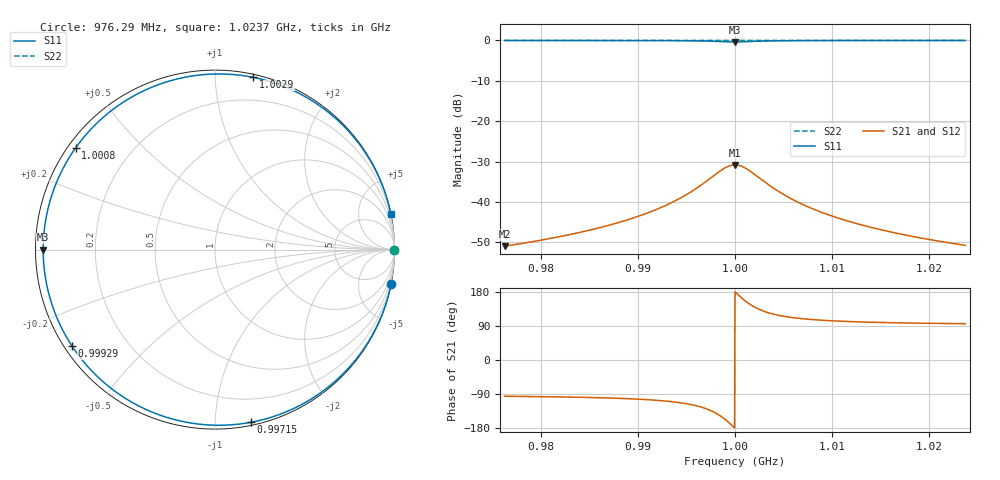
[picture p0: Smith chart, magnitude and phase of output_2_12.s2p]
! File generated for n1 = 2, n2 = 12
! b1 = 46.415888
! b2 = 0.010000
! Q0 = 10000.000000
! f0 = 1000000000.000000
! n = 1001
! rel_span = 10.000000
# Hz S RI R 50
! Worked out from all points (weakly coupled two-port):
!   1001 points, 976.29 MHz to 1.0237 GHz, reference 50 ohm
!   highest |S21| = -30.83 dB at 1 GHz (marker M1); lowest = -51.0 dB at 976.29 MHz (marker M2)
!   lowest |S11| = -0.4 dB at 1 GHz (marker M3), VSWR 45.96, Z = 1.09 + j0 ohm
!   |S11| at or under -10 dB: nowhere
!   |S22| runs from 0.0 to 0.0 dB; largest |S21 - S12| = 0
!   S11 on the Smith chart (normalised r, x): 976.29 MHz: 0, -10; 997.15 MHz: 0.02, -1.23; 999.29 MHz: 0.02, -0.31; 1.0008 GHz: 0.02, +0.33; 1.0029 GHz: 0.02, +1.24; 1.0237 GHz: 0, +10
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9.762871e8  0.9811 -0.1915  -0.000278 -0.00281  -0.000278 -0.00281  1 -4.13e-05
9.842072e8  0.9575 -0.2852  -0.000624 -0.00419  -0.000624 -0.00419  1 -6.15e-05
9.887126e8  0.9182 -0.3918  -0.0012 -0.00575  -0.0012 -0.00575  1 -8.44e-05
9.921273e8  0.8384 -0.5388  -0.00237 -0.00791  -0.00237 -0.00791  1 -0.000116
9.951626e8  0.6223 -0.7725  -0.00554 -0.0113  -0.00554 -0.0113  0.9999 -0.000166
9.962534e8  0.4417 -0.8838  -0.0082 -0.013  -0.0082 -0.013  0.9999 -0.00019
9.971544e8  0.1991 -0.9624  -0.0118 -0.0141  -0.0118 -0.0141  0.9998 -0.000207
9.983401e8  -0.313 -0.9198  -0.0193 -0.0135  -0.0193 -0.0135  0.9997 -0.000198
9.988144e8  -0.5656 -0.7832  -0.023 -0.0115  -0.023 -0.0115  0.9997 -0.000169
9.992886e8  -0.7957 -0.5389  -0.0264 -0.00791  -0.0264 -0.00791  0.9996 -0.000116
1e9  -0.9574 0  -0.0287 0  -0.0287 0  0.9996 0
1.000379e9  -0.9086 0.3053  -0.028 0.00448  -0.028 0.00448  0.9996 6.58e-05
1.000759e9  -0.7757 0.568  -0.0261 0.00834  -0.0261 0.00834  0.9996 0.000122
1.001186e9  -0.5663 0.7827  -0.023 0.0115  -0.023 0.0115  0.9997 0.000169
1.00166e9  -0.3144 0.9193  -0.0193 0.0135  -0.0193 0.0135  0.9997 0.000198
1.002182e9  -0.0612 0.9752  -0.0156 0.0143  -0.0156 0.0143  0.9998 0.00021
1.002893e9  0.212 0.9599  -0.0116 0.0141  -0.0116 0.0141  0.9998 0.000207
1.003794e9  0.4487 0.8805  -0.00809 0.0129  -0.00809 0.0129  0.9999 0.00019
1.004885e9  0.6252 0.7701  -0.0055 0.0113  -0.0055 0.0113  0.9999 0.000166
1.00792e9  0.8378 0.5396  -0.00238 0.00792  -0.00238 0.00792  1 0.000116
1.01584e9  0.9564 0.2888  -0.000639 0.00424  -0.000639 0.00424  1 6.22e-05
1.023713e9  0.9802 0.196  -0.000291 0.00288  -0.000291 0.00288  1 4.22e-05
